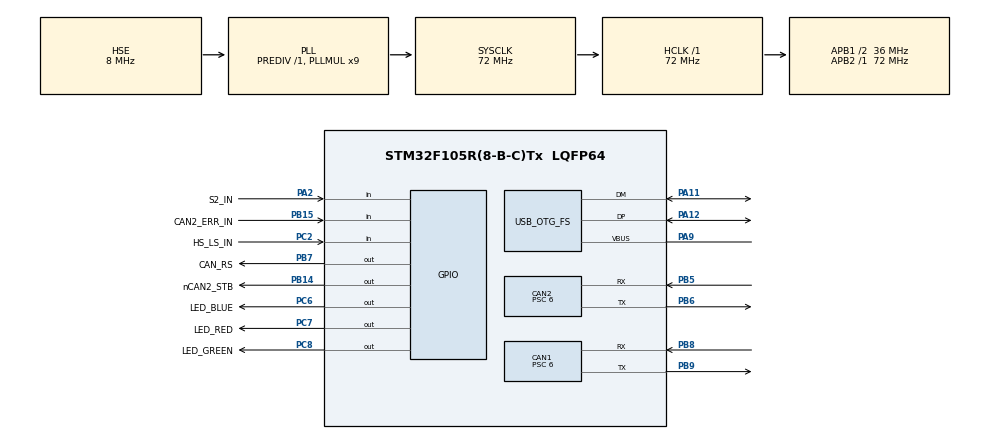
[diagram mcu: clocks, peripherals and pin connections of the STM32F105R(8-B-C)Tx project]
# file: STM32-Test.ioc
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CAN1.ABOM=ENABLE
CAN1.BS1=CAN_BS1_8TQ
CAN1.BS2=CAN_BS2_3TQ
CAN1.CalculateTimeBit=2000
CAN1.CalculateTimeQuantum=166.66666666666669
CAN1.Prescaler=6
CAN2.ABOM=ENABLE
CAN2.BS1=CAN_BS1_8TQ
CAN2.BS2=CAN_BS2_3TQ
CAN2.CalculateTimeBit=2000
CAN2.CalculateTimeQuantum=166.66666666666669
CAN2.Prescaler=6
Mcu.Family=STM32F1
Mcu.Name=STM32F105R(8-B-C)Tx
Mcu.Package=LQFP64
NVIC.CAN1_RX0_IRQn=true\:0\:0\:false
NVIC.CAN1_TX_IRQn=true\:0\:0\:false
NVIC.CAN2_RX0_IRQn=true\:0\:0\:false
NVIC.OTG_FS_IRQn=true\:0\:0\:false
NVIC.PriorityGroup=NVIC_PRIORITYGROUP_2
PA11.Mode=Device_Only
PA11.Signal=USB_OTG_FS_DM
PA12.Mode=Device_Only
PA12.Signal=USB_OTG_FS_DP
PA2.GPIO_Label=S2_IN
PA2.GPIO_PuPd=GPIO_PULLUP
PA2.Signal=GPIO_Input
PA9.Mode=Activate_VBUS
PA9.Signal=USB_OTG_FS_VBUS
PB14.GPIO_Label=nCAN2_STB
PB14.Signal=GPIO_Output
PB15.GPIO_Label=CAN2_ERR_IN
PB15.Signal=GPIO_Input
PB5.Mode=Slave
PB5.Signal=CAN2_RX
PB6.Mode=Slave
PB6.Signal=CAN2_TX
PB7.GPIO_Label=CAN_RS
PB7.Signal=GPIO_Output
PB8.Mode=Master
PB8.Signal=CAN1_RX
PB9.Mode=Master
PB9.Signal=CAN1_TX
PC2.GPIO_Label=HS_LS_IN
PC2.GPIO_PuPd=GPIO_PULLUP
PC2.Signal=GPIO_Input
PC6.GPIO_Label=LED_BLUE
PC6.Signal=GPIO_Output
PC7.GPIO_Label=LED_RED
PC7.Signal=GPIO_Output
PC8.GPIO_Label=LED_GREEN
PC8.Signal=GPIO_Output
PD0-OSC_IN.Mode=HSE-External-Oscillator
PD0-OSC_IN.Signal=RCC_OSC_IN
PD1-OSC_OUT.Mode=HSE-External-Oscillator
PD1-OSC_OUT.Signal=RCC_OSC_OUT
ProjectManager.TargetToolchain=MDK-ARM V5
RCC.AHBFreq_Value=72000000
RCC.APB1CLKDivider=RCC_HCLK_DIV2
RCC.APB1Freq_Value=36000000
RCC.APB1TimFreq_Value=72000000
RCC.APB2Freq_Value=72000000
RCC.APB2TimFreq_Value=72000000
RCC.HCLKFreq_Value=72000000
RCC.HSIState=RCC_HSI_ON
RCC.PLLMUL=RCC_PLL_MUL9
RCC.PLLSourceVirtual=RCC_PLLSOURCE_HSE
RCC.SYSCLKFreq_VALUE=72000000
RCC.SYSCLKSource=RCC_SYSCLKSOURCE_PLLCLK
RCC.USBFreq_Value=48000000
USB_DEVICE.USBD_HandleTypeDef=hUsbDeviceFS
USB_DEVICE.VirtualMode=Cdc
USB_DEVICE.VirtualModeFS=Cdc_FS
USB_OTG_FS.VirtualMode=Device_Only
USB_OTG_FS.vbus_sensing_enable=ENABLE
VP_USB_DEVICE_VS_USB_DEVICE_CDC_FS.Mode=CDC_FS
VP_WWDG_VS_WWDG.Mode=WWDG_Activate
WWDG.Counter=0x40
WWDG.Prescaler=WWDG_PRESCALER_8
WWDG.Window=0x40
board=STM32-Test

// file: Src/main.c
/**
  ******************************************************************************
  * File Name          : main.c
  * Description        : Main program body
  ******************************************************************************
  *
  * COPYRIGHT(c) 2016 STMicroelectronics
  *
  * Redistribution and use in source and binary forms, with or without modification,
  * are permitted provided that the following conditions are met:
  *   1. Redistributions of source code must retain the above copyright notice,
  *      this list of conditions and the following disclaimer.
  *   2. Redistributions in binary form must reproduce the above copyright notice,
  *      this list of conditions and the following disclaimer in the documentation
  *      and/or other materials provided with the distribution.
  *   3. Neither the name of STMicroelectronics nor the names of its contributors
  *      may be used to endorse or promote products derived from this software
  *      without specific prior written permission.
  *
  * THIS SOFTWARE IS PROVIDED BY THE COPYRIGHT HOLDERS AND CONTRIBUTORS "AS IS"
  * AND ANY EXPRESS OR IMPLIED WARRANTIES, INCLUDING, BUT NOT LIMITED TO, THE
  * IMPLIED WARRANTIES OF MERCHANTABILITY AND FITNESS FOR A PARTICULAR PURPOSE ARE
  * DISCLAIMED. IN NO EVENT SHALL THE COPYRIGHT HOLDER OR CONTRIBUTORS BE LIABLE
  * FOR ANY DIRECT, INDIRECT, INCIDENTAL, SPECIAL, EXEMPLARY, OR CONSEQUENTIAL
  * DAMAGES (INCLUDING, BUT NOT LIMITED TO, PROCUREMENT OF SUBSTITUTE GOODS OR
  * SERVICES; LOSS OF USE, DATA, OR PROFITS; OR BUSINESS INTERRUPTION) HOWEVER
  * CAUSED AND ON ANY THEORY OF LIABILITY, WHETHER IN CONTRACT, STRICT LIABILITY,
  * OR TORT (INCLUDING NEGLIGENCE OR OTHERWISE) ARISING IN ANY WAY OUT OF THE USE
  * OF THIS SOFTWARE, EVEN IF ADVISED OF THE POSSIBILITY OF SUCH DAMAGE.
  *
  ******************************************************************************
  */
#include "stm32f1xx_hal.h"
#include "usb_device.h"

/* USER CODE BEGIN Includes */
#include "main.h"
#include "usbd_cdc_if.h"

/* USER CODE END Includes */

CAN_HandleTypeDef hcan1;
CAN_HandleTypeDef hcan2;

WWDG_HandleTypeDef hwwdg;

/* USER CODE BEGIN PV */
/* Private variables ---------------------------------------------------------*/

//! Makro for the delay times
#define CAN_TRANSMIT_DELAY (100)
#define LED_TICKS (250)

//! Struktur auf alle Timer-Ticks Variablen  (maximal 255 Variablen)
typedef volatile struct timeoutticks_st {
    uint32_t canTransmitDelay;          // Verzögerungszeit bis nächste Tx-Message gesendet wird
    uint32_t ledTicks;                  // ticks für led blinken
} timeoutticks_t;

//! Status Flags from STM32-CAN device
typedef volatile struct stm32Status_st {
    interface_flags_t interface_flags;
    vu16 TimeStampCounter;

    uint32_t usbConnected ;              // set to 1 then stm32 is connected to usb and initialized

} stm32Status_t;

static timeoutticks_t TimeoutTicks = {
    CAN_TRANSMIT_DELAY          // this have to be always the first entry
,   LED_TICKS
};

static timeoutticks_t * const pTicks = &TimeoutTicks;  // I like pointers, so I use pointers :-)

static stm32Status_t stm32Status = {
    { 0,0,0,0 }     //flags
,   0               // timestamp counter
,   0               // usb connected, not used
};

static stm32Status_t * const pStatus = &stm32Status;

static CanTxMsgTypeDef myTxMessage;
static CanRxMsgTypeDef myRxMessage;
static CAN_FilterConfTypeDef myFilter;

unsigned char usbHelloMsg[]= "\nGreetings from USB device";

unsigned char usbLine[50];

volatile unsigned char myLastLine[MAX_USB_RECEIVED_BUFFER][MAX_USB_RECEIVED_BUFFER_LEN+1];   // Ablage Commandas Strings die per USB empfangen werden (+1 für die abschliesende 0 für Strings)
volatile unsigned char strReceivedCommando[MAX_USB_RECEIVED_BUFFER_LEN+1];                   // Buffer für eine komplette Zeile
volatile unsigned char strSendCommando[MAX_USB_RECEIVED_BUFFER_LEN+1];                       // eigneer Sendebuffer zum Test da eventuell die gemeinsame Nutzung von strReceivedCommando nicht funktioniert

volatile unsigned char myLastLinePosIdx = 0;     ;  // Spaltenindex von USB STring

// aa test
volatile unsigned char strStatusCommand[5];

volatile unsigned char myWriteIndexLastLine = 0  ;  //SchreibIndesx für den USB STring, wenn beide indexe gleich sind, dann liegt keine neue Nachricht im Buffer
volatile unsigned char myReadIndexLastLine  = 0  ;  // Lese Index für den USB

volatile enBitrate enCanBaudrate = _500_kbit;   // Merker des Indexes auf die Baudrate 0=500 1 250 ...usw.

//! Baudraten für den Sx Laviel-Protokoll setting Baudrate befehl   (Nummer von S ist der Index fürs Array)
const enBitrate usbBaudSettings[_LAST_BAUDRATE_]= {
    _10_kbit    // S0
,   _20_kbit    // S1
,   _50_kbit    // ...
,   _100_kbit
,   _125_kbit
,   _250_kbit
,   _500_kbit
,   _33_kbit
,   _95_kbit
,   _83_kbit   // S9
,   _47_kbit   // S10   not compatible to CAN-Hacker
 };

const Bitrate_st stBitrate[COUNT_BITRATE]= {  // Reihenfolge ergibt sich von der Enumaration von  enum bitrate_t
//    PRESCal     BS1  BS2        // todo für stm
     { 6    , CAN_BS1_8TQ, CAN_BS2_3TQ}  // 500kbit   S6  diese Werte gelten für einen Systemtakt von 72Mhz  PLCK1=32 MHz
,    { 12   , CAN_BS1_8TQ, CAN_BS2_3TQ}  // 250kbit   S5
,    { 24   , CAN_BS1_8TQ, CAN_BS2_3TQ}  // 125kbit   S4
,    { 30   , CAN_BS1_8TQ, CAN_BS2_3TQ}  // 100kbit   S3
,    { 42   , CAN_BS1_6TQ, CAN_BS2_2TQ}  // 95kbit
,    { 36   , CAN_BS1_8TQ, CAN_BS2_3TQ}  // 83kbit    S9
,    { 60   , CAN_BS1_8TQ, CAN_BS2_3TQ}  // 50kbit  S2
,    { 90   , CAN_BS1_8TQ, CAN_BS2_3TQ}  // 33kbit
,    { 150  , CAN_BS1_8TQ, CAN_BS2_3TQ}  // 20kbit  S1
,    { 300  , CAN_BS1_8TQ, CAN_BS2_3TQ}  // 10kbit  S0
,    { 42   , CAN_BS1_12TQ, CAN_BS2_5TQ}  // 47,619kbit  S10
};

struct myRxMessage_st stLastRxMessage[MYRX_SIZE];

#if MYRX_SIZE<256
    vu8 rx_wr_CAN_index=0;              // Schreibindex im CAN-RX-Empfangspuffer
    vu8 rx_rd_CAN_index=0;              // Leseindex CAN-RX-Empfangspuffer
    vu8 CanReceivedCounter=0;           // Flag das eine neue Botschaft in LastRxMessage abgelegt wurde.
#else
    vu16 rx_wr_CAN_index=0;
    vu16 rx_rd_CAN_index=0;
    vu16 CanReceivedCounter=0;
#endif

/* USER CODE END PV */

void SystemClock_Config(void);
static void MX_GPIO_Init(void);
static void MX_CAN1_Init(void);
static void MX_CAN2_Init(void);
static void MX_WWDG_Init(void);

/* USER CODE BEGIN PFP */
/* Private function prototypes -----------------------------------------------*/
void HAL_CAN_RxCpltCallback(CAN_HandleTypeDef* hcan);
void HAL_SYSTICK_Callback(void);  // handle own additional systicks
static void USER_CANx_Init(CAN_HandleTypeDef *hCANx,enBitrate baud, uint32_t canMode);

/* USER CODE END PFP */

int main(void)
{

  /* USER CODE BEGIN 1 */
    uint32_t i;
    InterruptStatus_t irq_status;

  /* USER CODE END 1 */

  /* MCU Configuration----------------------------------------------------------*/

  /* Reset of all peripherals, Initializes the Flash interface and the Systick. */
  HAL_Init();

  /* Configure the system clock */
  SystemClock_Config();

  /* Initialize all configured peripherals */
  MX_GPIO_Init();
  MX_CAN1_Init();
  MX_CAN2_Init();
  MX_WWDG_Init();
  MX_USB_DEVICE_Init();

  /* USER CODE BEGIN 2 */

    HAL_GPIO_WritePin(LED_RED_GPIO_Port,LED_RED_Pin,GPIO_PIN_SET);
    HAL_GPIO_WritePin(LED_BLUE_GPIO_Port,LED_BLUE_Pin,GPIO_PIN_RESET);

    HAL_GPIO_WritePin(CAN_RS_GPIO_Port,CAN_RS_Pin,GPIO_PIN_RESET);  // enable 82C250  HS

    myFilter.FilterNumber           = 0;
    myFilter.FilterMode             = CAN_FILTERMODE_IDMASK;
    myFilter.FilterScale            = CAN_FILTERSCALE_32BIT;
    myFilter.FilterIdHigh           = 0x0000;
    myFilter.FilterIdLow            = 0x0000;
    myFilter.FilterMaskIdHigh       = 0x0000;
    myFilter.FilterMaskIdLow        = 0x0000;
    myFilter.FilterFIFOAssignment   = 0;
    myFilter.FilterActivation       = ENABLE;

    HAL_CAN_ConfigFilter(&hcan1,&myFilter);

    // disable CAN, because the channel is not opened at startup (and onl
    HAL_CAN_DeInit(&hcan1);  // Deinit both CANs
    HAL_CAN_DeInit(&hcan2);

  /* USER CODE END 2 */

  /* Infinite loop */
  while (1)
  {

  /* USER CODE BEGIN 3 */

    if(!pTicks->ledTicks) {
        pTicks->ledTicks = LED_TICKS;

        if(!pStatus->interface_flags.CanChannelOnOff) {  // If the CAN channel is closed, the red LED is toggled.
            HAL_GPIO_TogglePin(LED_RED_GPIO_Port,LED_RED_Pin);
        }
        else {
            HAL_GPIO_WritePin(LED_RED_GPIO_Port, LED_RED_Pin, GPIO_PIN_SET);
        }
    }

    if(!pTicks->canTransmitDelay) { // test for sending a cylic can message   , todo aw: remove it later
        pTicks->canTransmitDelay = CAN_TRANSMIT_DELAY;

       // HAL_CAN_Transmit_IT(&hcan1);

        // CDC_Transmit_FS(usbHelloMsg,strlen((const char *)usbHelloMsg));

    }

    if(myWriteIndexLastLine!=myReadIndexLastLine) {  // new lawicel comand string received?

        i= sprintf((char*)strReceivedCommando,"%s",myLastLine[myReadIndexLastLine]);  // yes,  copy command from buffer as string

        // for first usb testing, send a pong
        #ifdef PING_PONG
            CDC_Transmit_FS((unsigned char *)strReceivedCommando,i);   // CAN-Hacker don't want echos :-)
        #endif

        switch (strReceivedCommando[0]) {           // execute Lawicel commands

            case 'V':
                CDC_Transmit_FS((unsigned char *) STM32_CAN_SW_VERSION, sizeof(STM32_CAN_SW_VERSION)-1 );
            break;

            case 'v':
                CDC_Transmit_FS((unsigned char *) STM32_CAN_HW_VERSION, sizeof(STM32_CAN_HW_VERSION)-1 );
            break;

            /* Place for the other Lawicel commands :-)

            */

            case 'S':  // set Baudrat S0..S9  , only allowed the CAN channel is closed
                if ( (strReceivedCommando[1] >='0') &&  (strReceivedCommando[1] <='9') && (!pStatus->interface_flags.CanChannelOnOff)  ) {  // parmeter okay? and channel closed?
                    SetCanBaudrate(usbBaudSettings[strReceivedCommando[1]-0x30]);
                    pStatus->interface_flags.BaudSettingsReceived=1;

                    strReceivedCommando[0]=0x0D;
                    CDC_Transmit_FS((unsigned char *)strReceivedCommando,1);
                }
                else {                         // wrong Parameter  ==> 0x07 senden
                    strReceivedCommando[0]=0x07;
                    CDC_Transmit_FS((unsigned char *)strReceivedCommando,1);

                    pStatus->interface_flags.BaudSettingsReceived=0;  // wegen falscher Baudrate zurücksetzen
                }
            break;

            case 's':  //Benutzerdefinierete Baudrate setzen  (erstmal nur s8333 für 83.33kbit und s3333 für 33,33kbit)
                if (    (strReceivedCommando[1] =='8') && (strReceivedCommando[2] =='3') \
                    &&  (strReceivedCommando[3] =='3') && (strReceivedCommando[4] =='3') \
                    && (!pStatus->interface_flags.CanChannelOnOff)  ) {  // valid parameter and channel closed?
                    SetCanBaudrate(usbBaudSettings[_83_kbit]);
                    pStatus->interface_flags.BaudSettingsReceived=1;

                    strReceivedCommando[0]=0x0D;
                    CDC_Transmit_FS((u8 *)strReceivedCommando,1);
                }
                else {
                    if ( (strReceivedCommando[1] =='3') &&  (strReceivedCommando[2] =='3') \
                     &&  (strReceivedCommando[3] =='3') &&  (strReceivedCommando[4] =='3') \
                     &&  (!pStatus->interface_flags.CanChannelOnOff)  ) {  // gültige Zahl und Kanal geschlossen?
                        SetCanBaudrate(usbBaudSettings[_33_kbit]);
                        pStatus->interface_flags.BaudSettingsReceived=1;

                        strReceivedCommando[0]=0x0D;
                        CDC_Transmit_FS((u8 *)strReceivedCommando,1);
                    }
                    else {
                        if ( (strReceivedCommando[1] =='9') &&  (strReceivedCommando[2] =='5') \
                         &&  (strReceivedCommando[3] =='0') &&  (strReceivedCommando[4] =='0') \
                         &&  (!pStatus->interface_flags.CanChannelOnOff)  ) {  // gültige Zahl und Kanal geschlossen?
                            SetCanBaudrate(usbBaudSettings[_95_kbit]);
                            pStatus->interface_flags.BaudSettingsReceived=1;

                            strReceivedCommando[0]=0x0D;
                            CDC_Transmit_FS((u8 *)strReceivedCommando,1);
                        }
                        else {
                           // wrong parameter ==> send 0x07
                            strReceivedCommando[0]=0x07;
                            CDC_Transmit_FS((u8 *)strReceivedCommando,1);

                            // todo flag setzen, dass fehlerhafte Baudrate empfangen wurde und somit der OpenBefehl nicht ausgefürht werden darf,
                            // solange nicht eine korrekte benutzerdefinierte Baudreate bzw. ein S1..S9 empfangen wurde
                            pStatus->interface_flags.BaudSettingsReceived=0;  // because of wrong baudrate received don't execute "Channel Open"
                        }
                    }
                }
            break;

            case 'O':    // open CAN channel ( channel has to be closed)
                pStatus->interface_flags.CanSilentModeOnOff = 0x00;  // normaler Modus
                pStatus->TimeStampCounter=0;
                if((!pStatus->interface_flags.CanChannelOnOff) && (pStatus->interface_flags.BaudSettingsReceived)) { // Kanal geschlossen und Baudrate schon empfangen?

                    USER_CANx_Init(&hcan1,enCanBaudrate,CAN_MODE_NORMAL);
                    USER_CANx_Init(&hcan2,enCanBaudrate,CAN_MODE_NORMAL);

                    hcan1.pRxMsg=  &myRxMessage;
                    if (HAL_CAN_Receive_IT(&hcan1, CAN_FIFO0) != HAL_OK) {
                        /* Reception Error */
                        HAL_GPIO_WritePin(LED_RED_GPIO_Port,LED_RED_Pin,GPIO_PIN_RESET);
                    }

                    pStatus->interface_flags.CanChannelOnOff=1;  // set flag to status "opened"
                    strReceivedCommando[0]=0x0D;

                    CDC_Transmit_FS((u8 *)strReceivedCommando,1);
                }
                else {  // already opened
                    strReceivedCommando[0]=0x07;

                    CDC_Transmit_FS((u8 *)strReceivedCommando,1);
                }
            break;

            case 'C':       // close CAN channel    (channel has to be opened, befor it can be closed)
                if(pStatus->interface_flags.CanChannelOnOff) { // channel opened?

                    // todo aw: use also a macro to select which CANs are used, see above for the old version without HAL
                    HAL_CAN_DeInit(&hcan1);  // Deinit both CANs
                    HAL_CAN_DeInit(&hcan2);

                    pStatus->interface_flags.CanChannelOnOff=0;  // set flag to status "closed"

                    strReceivedCommando[0]=0x0D;
                    CDC_Transmit_FS((u8 *)strReceivedCommando,1);

                    HAL_GPIO_WritePin(LED_GREEN_GPIO_Port,LED_GREEN_Pin,GPIO_PIN_RESET);
                    HAL_GPIO_WritePin(LED_BLUE_GPIO_Port,LED_BLUE_Pin,GPIO_PIN_RESET);
                }
                else {  // already closed
                    strReceivedCommando[0]=0x07;
                    CDC_Transmit_FS((u8 *)strReceivedCommando,1);
                }
            break;

            case 'L':  //listen only mode , only allowed to set when the CAN channel is closed

                pStatus->interface_flags.CanSilentModeOnOff = 0x01;
                pStatus->TimeStampCounter=0;

                if((!pStatus->interface_flags.CanChannelOnOff) && (pStatus->interface_flags.BaudSettingsReceived)) { // Kanal geschlossen und Baudrate schon empfangen?
                    // todo aw : use macros for the available CAN channels
                    USER_CANx_Init(&hcan1,enCanBaudrate,CAN_MODE_SILENT);
                    USER_CANx_Init(&hcan2,enCanBaudrate,CAN_MODE_SILENT);

                    hcan1.pRxMsg=  &myRxMessage;
                    if (HAL_CAN_Receive_IT(&hcan1, CAN_FIFO0) != HAL_OK) {
                        /* Reception Error */
                        HAL_GPIO_WritePin(LED_RED_GPIO_Port,LED_RED_Pin,GPIO_PIN_RESET);
                    }

                    pStatus->interface_flags.CanChannelOnOff=1;
                    strReceivedCommando[0]=0x0D;

                    CDC_Transmit_FS((u8 *)strReceivedCommando,1);
                }
                else {  // already opened
                    strReceivedCommando[0]=0x07;

                    CDC_Transmit_FS((u8 *)strReceivedCommando,1);
                }
            break;

            case 'Z':  // set timestamp status
                strReceivedCommando[0]=0x0D;
                if(strReceivedCommando[1]=='1') {
                    pStatus->interface_flags.TimeStampOnOff=1;
                }
                else {
                    if (strReceivedCommando[1]=='0') {
                        pStatus->interface_flags.TimeStampOnOff=0;
                    }
                    else {  // unknown status, set error code for the response
                        strReceivedCommando[0]=0x07;
                    }
                }
                CDC_Transmit_FS((u8 *)strReceivedCommando,1);

            break;

            case 't':
                if(pStatus->interface_flags.CanChannelOnOff && !pStatus->interface_flags.CanSilentModeOnOff) {   // Interface Channel aktiviert? und kein Listen Only Modus
                    strReceivedCommando[0]=0x0D;        // for test, send positive response immediately
                    CDC_Transmit_FS((u8 *)strReceivedCommando,1);

                    //##################################################
                    // todo  put you send can frame task here  StdID

                                hcan1.pTxMsg = &myTxMessage;

                                myTxMessage.DLC = 4;
                                myTxMessage.StdId = 0x234;
                                myTxMessage.IDE = CAN_ID_STD;

                                // the tesmesssag is now sent here
                                HAL_CAN_Transmit_IT(&hcan1);

                    // end todo
                    //###################################################
                }
                else { // interface is not allowed to send a CAN frame
                    strReceivedCommando[0]=0x07;
                    CDC_Transmit_FS((u8 *)strReceivedCommando,1);
                }

            break;

            case 'T':
                if(pStatus->interface_flags.CanChannelOnOff && !pStatus->interface_flags.CanSilentModeOnOff) {   // Interface Channel aktiviert? und kein Listen Only Modus
                    strReceivedCommando[0]=0x0D;        // for test, send positive response immediately
                    CDC_Transmit_FS((u8 *)strReceivedCommando,1);

                    //##################################################
                    // todo  put you send can frame task here  StdID

                                myTxMessage.DLC = 3;
                                myTxMessage.ExtId = 0x14F00500;

                                myTxMessage.IDE = CAN_ID_EXT;
                                myTxMessage.Data[0] = 0xAA;

                                // the tesmesssag is now sent here
                                HAL_CAN_Transmit_IT(&hcan1);

                    // end todo
                    //###################################################

                }
                else { // interface is not allowed to send a CAN frame
                    strReceivedCommando[0]=0x07;
                    CDC_Transmit_FS((u8 *)strReceivedCommando,1);
                }

            break;

            case 0x07:                              // Lawicel: error received?  also set by receiving more than 20 chars without [CR]
                CDC_Transmit_FS((unsigned char *)strReceivedCommando,1);

            default:
                strReceivedCommando[0]=0x07;        // send error back by receiving unknown command
                CDC_Transmit_FS((unsigned char *)strReceivedCommando,1);

            break;
         }   // end switch lawicel commands

        if(myReadIndexLastLine < (MAX_USB_RECEIVED_BUFFER - 1)) {
            myReadIndexLastLine += 1;
        }
        else {
            myReadIndexLastLine = 0;
        }
    }  // end new command string received

    // handle  the received CAN-Frames:
    if(CanReceivedCounter) {       //  // Liegt eine CAN-Message im Empfangsbuffer?    Ja dann auf gleichen Port zum senden merken
        u8 idx=0;
        u8 db;
        u8 DLC;
        u32 ID;

        DLC=stLastRxMessage[rx_rd_CAN_index].LastRxMessage.DLC;

        if(stLastRxMessage[rx_rd_CAN_index].LastRxMessage.IDE == CAN_ID_STD) {
            ID=stLastRxMessage[rx_rd_CAN_index].LastRxMessage.StdId;

            strReceivedCommando[idx++]='t';
            idx+=sprintf((char*)&strReceivedCommando[idx],"%03X",ID);
        }
        else {
            ID=stLastRxMessage[rx_rd_CAN_index].LastRxMessage.ExtId;

            strReceivedCommando[idx++]='T';
            idx+=sprintf((char*)&strReceivedCommando[idx],"%08X",ID);
        }

        strReceivedCommando[idx++]=DLC + '0';

        for(i=0;i<stLastRxMessage[rx_rd_CAN_index].LastRxMessage.DLC;i++) {
            db=stLastRxMessage[rx_rd_CAN_index].LastRxMessage.Data[i];     // maybe I need db later for special functions which depends on dip-switch

            idx+= sprintf((char*)&strReceivedCommando[idx],"%02X",db);
        }

        if(pStatus->interface_flags.TimeStampOnOff) { // Zeitstempel hinzufügen
            idx+= sprintf((char*)&strReceivedCommando[idx],"%04X",stLastRxMessage[rx_rd_CAN_index].timeStamp );
        }

        strReceivedCommando[idx++]=0x0D;

        CDC_Transmit_FS((u8 *)strReceivedCommando,idx);

        if(++rx_rd_CAN_index == MYRX_SIZE) {
            rx_rd_CAN_index=0;              // Lese Index auf Anfang vom Puffer setzen, falls die aktuelle Nachricht das Pufferende war
        }

        irq_status= Interrupt_saveAndDisable();  // which is the CubeMX version for disable the global ISR????   so I use my own
            CanReceivedCounter--;              // Empfangszähler
        Interrupt_restore(irq_status);

        //if(!canErrorStatus) GREEN_LED_TOGGLE();

    } // end handle received CAN frames

  } // end while main loop

  /* USER CODE END 3 */

}

/** System Clock Configuration
*/
void SystemClock_Config(void)
{

  RCC_OscInitTypeDef RCC_OscInitStruct;
  RCC_ClkInitTypeDef RCC_ClkInitStruct;
  RCC_PeriphCLKInitTypeDef PeriphClkInit;

  RCC_OscInitStruct.OscillatorType = RCC_OSCILLATORTYPE_HSE;
  RCC_OscInitStruct.HSEState = RCC_HSE_ON;
  RCC_OscInitStruct.HSEPredivValue = RCC_HSE_PREDIV_DIV1;
  RCC_OscInitStruct.Prediv1Source = RCC_PREDIV1_SOURCE_HSE;
  RCC_OscInitStruct.PLL.PLLState = RCC_PLL_ON;
  RCC_OscInitStruct.PLL.PLLSource = RCC_PLLSOURCE_HSE;
  RCC_OscInitStruct.PLL.PLLMUL = RCC_PLL_MUL9;
  RCC_OscInitStruct.PLL2.PLL2State = RCC_PLL_NONE;
  HAL_RCC_OscConfig(&RCC_OscInitStruct);

  RCC_ClkInitStruct.ClockType = RCC_CLOCKTYPE_HCLK|RCC_CLOCKTYPE_SYSCLK
                              |RCC_CLOCKTYPE_PCLK1|RCC_CLOCKTYPE_PCLK2;
  RCC_ClkInitStruct.SYSCLKSource = RCC_SYSCLKSOURCE_PLLCLK;
  RCC_ClkInitStruct.AHBCLKDivider = RCC_SYSCLK_DIV1;
  RCC_ClkInitStruct.APB1CLKDivider = RCC_HCLK_DIV2;
  RCC_ClkInitStruct.APB2CLKDivider = RCC_HCLK_DIV1;
  HAL_RCC_ClockConfig(&RCC_ClkInitStruct, FLASH_LATENCY_2);

  PeriphClkInit.PeriphClockSelection = RCC_PERIPHCLK_USB;
  PeriphClkInit.UsbClockSelection = RCC_USBPLLCLK_DIV3;
  HAL_RCCEx_PeriphCLKConfig(&PeriphClkInit);

  HAL_SYSTICK_Config(HAL_RCC_GetHCLKFreq()/1000);

  HAL_SYSTICK_CLKSourceConfig(SYSTICK_CLKSOURCE_HCLK);

  __HAL_RCC_PLLI2S_ENABLE();

  /* SysTick_IRQn interrupt configuration */
  HAL_NVIC_SetPriority(SysTick_IRQn, 0, 0);
}

/* CAN1 init function */
void MX_CAN1_Init(void)
{

  hcan1.Instance = CAN1;
  hcan1.Init.Prescaler = 6;
  hcan1.Init.Mode = CAN_MODE_NORMAL;
  hcan1.Init.SJW = CAN_SJW_1TQ;
  hcan1.Init.BS1 = CAN_BS1_8TQ;
  hcan1.Init.BS2 = CAN_BS2_3TQ;
  hcan1.Init.TTCM = DISABLE;
  hcan1.Init.ABOM = ENABLE;
  hcan1.Init.AWUM = DISABLE;
  hcan1.Init.NART = DISABLE;
  hcan1.Init.RFLM = DISABLE;
  hcan1.Init.TXFP = DISABLE;
  HAL_CAN_Init(&hcan1);

}

/* CAN2 init function */
void MX_CAN2_Init(void)
{

  hcan2.Instance = CAN2;
  hcan2.Init.Prescaler = 6;
  hcan2.Init.Mode = CAN_MODE_NORMAL;
  hcan2.Init.SJW = CAN_SJW_1TQ;
  hcan2.Init.BS1 = CAN_BS1_8TQ;
  hcan2.Init.BS2 = CAN_BS2_3TQ;
  hcan2.Init.TTCM = DISABLE;
  hcan2.Init.ABOM = ENABLE;
  hcan2.Init.AWUM = DISABLE;
  hcan2.Init.NART = DISABLE;
  hcan2.Init.RFLM = DISABLE;
  hcan2.Init.TXFP = DISABLE;
  HAL_CAN_Init(&hcan2);

}

/* WWDG init function */
void MX_WWDG_Init(void)
{

  hwwdg.Instance = WWDG;
  hwwdg.Init.Prescaler = WWDG_PRESCALER_8;
  hwwdg.Init.Window = 0x40;
  hwwdg.Init.Counter = 0x40;
  HAL_WWDG_Init(&hwwdg);

}

/** Configure pins as
        * Analog
        * Input
        * Output
        * EVENT_OUT
        * EXTI
*/
void MX_GPIO_Init(void)
{

  GPIO_InitTypeDef GPIO_InitStruct;

  /* GPIO Ports Clock Enable */
  __HAL_RCC_GPIOD_CLK_ENABLE();
  __HAL_RCC_GPIOC_CLK_ENABLE();
  __HAL_RCC_GPIOA_CLK_ENABLE();
  __HAL_RCC_GPIOB_CLK_ENABLE();

  /*Configure GPIO pin : HS_LS_IN_Pin */
  GPIO_InitStruct.Pin = HS_LS_IN_Pin;
  GPIO_InitStruct.Mode = GPIO_MODE_INPUT;
  GPIO_InitStruct.Pull = GPIO_PULLUP;
  HAL_GPIO_Init(HS_LS_IN_GPIO_Port, &GPIO_InitStruct);

  /*Configure GPIO pin : S2_IN_Pin */
  GPIO_InitStruct.Pin = S2_IN_Pin;
  GPIO_InitStruct.Mode = GPIO_MODE_INPUT;
  GPIO_InitStruct.Pull = GPIO_PULLUP;
  HAL_GPIO_Init(S2_IN_GPIO_Port, &GPIO_InitStruct);

  /*Configure GPIO pins : nCAN2_STB_Pin CAN_RS_Pin */
  GPIO_InitStruct.Pin = nCAN2_STB_Pin|CAN_RS_Pin;
  GPIO_InitStruct.Mode = GPIO_MODE_OUTPUT_PP;
  GPIO_InitStruct.Speed = GPIO_SPEED_LOW;
  HAL_GPIO_Init(GPIOB, &GPIO_InitStruct);

  /*Configure GPIO pin : CAN2_ERR_IN_Pin */
  GPIO_InitStruct.Pin = CAN2_ERR_IN_Pin;
  GPIO_InitStruct.Mode = GPIO_MODE_INPUT;
  GPIO_InitStruct.Pull = GPIO_NOPULL;
  HAL_GPIO_Init(CAN2_ERR_IN_GPIO_Port, &GPIO_InitStruct);

  /*Configure GPIO pins : LED_BLUE_Pin LED_RED_Pin LED_GREEN_Pin */
  GPIO_InitStruct.Pin = LED_BLUE_Pin|LED_RED_Pin|LED_GREEN_Pin;
  GPIO_InitStruct.Mode = GPIO_MODE_OUTPUT_PP;
  GPIO_InitStruct.Speed = GPIO_SPEED_LOW;
  HAL_GPIO_Init(GPIOC, &GPIO_InitStruct);

  /*Configure GPIO pin Output Level */
  HAL_GPIO_WritePin(GPIOB, nCAN2_STB_Pin|CAN_RS_Pin, GPIO_PIN_RESET);

  /*Configure GPIO pin Output Level */
  HAL_GPIO_WritePin(GPIOC, LED_BLUE_Pin|LED_RED_Pin|LED_GREEN_Pin, GPIO_PIN_RESET);

}

/* USER CODE BEGIN 4 */
void HAL_CAN_RxCpltCallback(CAN_HandleTypeDef* hcan) {
    u32 j;

    if(pStatus->interface_flags.CanChannelOnOff) {   // only do something when the can channel is opened

        HAL_GPIO_TogglePin(LED_BLUE_GPIO_Port,LED_BLUE_Pin);
        // valid CAN-Message received

        //only the the received can-messages will be put into the rx-buffer
        // and also fifo0 is used
        // please note that this is an import of my STM32 interface which didn't use CubeMX, so maybe it not a good implementation :-(
        // also the RxMessag structure differ, I only used the values whcih I need,

        stLastRxMessage[rx_wr_CAN_index].LastRxMessage.IDE =  hcan1.pRxMsg->IDE;
        if(CAN_ID_STD == hcan1.pRxMsg->IDE) {
             stLastRxMessage[rx_wr_CAN_index].LastRxMessage.StdId =  hcan1.pRxMsg->StdId;
        }
        else {
             stLastRxMessage[rx_wr_CAN_index].LastRxMessage.ExtId =  hcan1.pRxMsg->ExtId;
        }
        stLastRxMessage[rx_wr_CAN_index].LastRxMessage.DLC =  hcan1.pRxMsg->DLC;

        for(j=0;j<8;j++) { // copy all 8 data bytes , don't take care about DLC
            stLastRxMessage[rx_wr_CAN_index].LastRxMessage.Data[j] = hcan1.pRxMsg->Data[j];
        }

        stLastRxMessage[rx_wr_CAN_index].pCAN=CAN1;                                      // CAN-Schnittstelle speichern

        stLastRxMessage[rx_wr_CAN_index].timeStamp = pStatus->TimeStampCounter;

        if(++rx_wr_CAN_index == MYRX_SIZE)  rx_wr_CAN_index=0;                           // Write Index auf Anfang vom Puffer setzen
        if(++CanReceivedCounter == MYRX_SIZE) {
            CanReceivedCounter=0;    // bei Bufferüberlauf Counter zurücksetzen, dadurch gehen Nachrichten verloren, sollte aber nie vorkommen
        }
    }

    // when release fifo0 ISR Bit
    __HAL_CAN_ENABLE_IT(hcan, CAN_IT_FMP0);  // achtung kein check auf welchen Buffer, hier fest 0

}

/**
  * @brief  Own-Systik Handler
  *
  * This function is called every 1ms. This function is used to handle the won pTicks structurel.<br>
  * maximal 255 tick variables are allowed
  *
  */
void HAL_SYSTICK_Callback(void){  // handle own additional systicks
    uint32_t i;
    volatile uint32_t *pTick = &TimeoutTicks.canTransmitDelay ;    // this have to be the first variable in the timeticks

    // decrement all tick varriable
    for (i=0; i < ( sizeof(timeoutticks_t) / sizeof(uint32_t));i++) {
        if (*pTick) {
            (*pTick)--;
        }
        pTick++;
    }

    if (++pStatus->TimeStampCounter > END_VALUE_TIMESTAMP_COUNTER) {  // Zähler nur von 0....59999ms laufen lassen)
        pStatus->TimeStampCounter=0;
    }

}

/**
  * @brief  CAN Baudrate setzen
  *         Baudrate für die CAN-Interfaces auf einen festen Wert setzen, <br>so das keine Autobauderkennung erforderlich ist.
  * @param  None
  * @retval None
  */
void SetCanBaudrate(enBitrate enBaud) {  //
      enCanBaudrate=enBaud;
}

/**
  * @brief  User CAN initialization
  *         Setup the CAN port with the Lawicel baudrate
  * @param  CAN_HandleTypeDef *hCANx
  * @todo   impelentation and testing
  * @note   the basic initializing is done by the cubeMX, here only baudratesettings is don
  * @retval None
  */

static void USER_CANx_Init(CAN_HandleTypeDef *hCANx,enBitrate baud, uint32_t canMode){

  //

  hCANx->Init.Prescaler = stBitrate[baud].Prescaler;
  hCANx->Init.Mode = canMode;
  hCANx->Init.SJW =  CAN_SJW_1TQ; // always zero , which means the Synchronization Jump Width is 1 tq
  hCANx->Init.BS1 = stBitrate[baud].BS1;
  hCANx->Init.BS2 = stBitrate[baud].BS2;

  // since here should be set ,
/*
  hCANx->Init.TTCM = DISABLE;
  hCANx->Init.ABOM = ENABLE;
  hCANx->Init.AWUM = DISABLE;
  hCANx->Init.NART = DISABLE;
  hCANx->Init.RFLM = DISABLE;
  hCANx->Init.TXFP = DISABLE;
*/

  HAL_CAN_Init(hCANx);

}

/* USER CODE END 4 */

/************************ (C) COPYRIGHT STMicroelectronics *****END OF FILE****/
